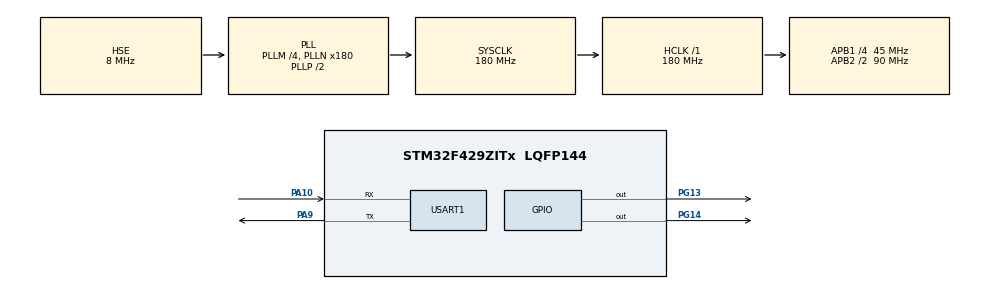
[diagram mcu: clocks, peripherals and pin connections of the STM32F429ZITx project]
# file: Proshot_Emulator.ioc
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Mcu.Family=STM32F4
Mcu.Name=STM32F429ZITx
Mcu.Package=LQFP144
NVIC.PriorityGroup=NVIC_PRIORITYGROUP_4
PA10.Mode=Asynchronous
PA10.Signal=USART1_RX
PA9.Mode=Asynchronous
PA9.Signal=USART1_TX
PG13.Signal=GPIO_Output
PG14.Signal=GPIO_Output
PH0/OSC_IN.Mode=HSE-External-Oscillator
PH0/OSC_IN.Signal=RCC_OSC_IN
PH1/OSC_OUT.Mode=HSE-External-Oscillator
PH1/OSC_OUT.Signal=RCC_OSC_OUT
ProjectManager.HeapSize=0x200
ProjectManager.StackSize=0x400
ProjectManager.TargetToolchain=STM32CubeIDE
RCC.48MHZClocksFreq_Value=90000000
RCC.AHBFreq_Value=180000000
RCC.APB1CLKDivider=RCC_HCLK_DIV4
RCC.APB1Freq_Value=45000000
RCC.APB1TimFreq_Value=90000000
RCC.APB2CLKDivider=RCC_HCLK_DIV2
RCC.APB2Freq_Value=90000000
RCC.APB2TimFreq_Value=180000000
RCC.CortexFreq_Value=180000000
RCC.HCLKFreq_Value=180000000
RCC.HSE_VALUE=8000000
RCC.HSI_VALUE=16000000
RCC.LSE_VALUE=32768
RCC.PLLM=4
RCC.PLLN=180
RCC.PLLSourceVirtual=RCC_PLLSOURCE_HSE
RCC.SYSCLKFreq_VALUE=180000000
RCC.SYSCLKSource=RCC_SYSCLKSOURCE_PLLCLK
RCC.VCOOutputFreq_Value=360000000
USART1.VirtualMode=VM_ASYNC
board=custom

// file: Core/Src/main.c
/* USER CODE BEGIN Header */
/**
  ******************************************************************************
  * @file           : main.c
  * @brief          : Main program body
  ******************************************************************************
  * @attention
  *
  * Copyright (c) 2024 STMicroelectronics.
  * All rights reserved.
  *
  * This software is licensed under terms that can be found in the LICENSE file
  * in the root directory of this software component.
  * If no LICENSE file comes with this software, it is provided AS-IS.
  *
  ******************************************************************************
  */
/* USER CODE END Header */
#include "main.h"

/* USER CODE BEGIN PM */

uint32_t Impuls_Start       = 300;    // Start-Versatz
uint32_t Impuls_Delta       =  22;    // fuer 125 ns
uint32_t Impuls_Grundbreite = 181;    // 1 us
uint32_t Impuls_Abstand     = 732;    // 4.04 us
uint32_t Impuls_Breite_1    =   0;
uint32_t Impuls_Breite_2    =   0;
uint32_t Impuls_Breite_3    =   0;
uint32_t Impuls_Breite_4    =   0;

/* USER CODE END PM */

UART_HandleTypeDef huart1;

/* USER CODE BEGIN PV */
volatile unsigned char OC_CH1_N = 0;
/* USER CODE END PV */

void SystemClock_Config(void);
static void MX_GPIO_Init(void);
static void MX_USART1_UART_Init(void);

/* USER CODE BEGIN 0 */

// interrupt handler for TIM1 capture/compare event
void TIM1_CC_IRQHandler(void) {
	uint32_t sr = TIM1->SR; // read interrupt flags
	TIM1->SR = 0; // clear interrupt flags before proceeding
	if(sr & TIM_SR_CC1IF) {									// capture event
		switch (OC_CH1_N)									// erster Output Compare kam:
		{
		  case (0):
				OC_CH1_N = 1;  								// naechster Zustand
		        HAL_GPIO_WritePin(GPIOG,GPIO_PIN_13,0);     // setze PG13-Pin auf High
				TIM1->CCR1 = Impuls_Start;                  // bereite naechsten Output Compare vor
		  break;
		  case (1):
				OC_CH1_N = 2;			                    // naechster Zustand
		        HAL_GPIO_WritePin(GPIOG,GPIO_PIN_13,1);     // setze PG13-Pin auf Low
			   TIM1->CCR1 = Impuls_Start + Impuls_Grundbreite + Impuls_Breite_1;  // bereite naechsten Output Compare vor
		  break;
		  case (2):
				OC_CH1_N = 3;			                    // naechster Zustand
			    HAL_GPIO_WritePin(GPIOG,GPIO_PIN_13,0);     // setze PG13-Pin auf High
			    TIM1->CCR1 = Impuls_Start + Impuls_Abstand;
		  break;
		  case (3):
				OC_CH1_N = 4;
		 	    HAL_GPIO_WritePin(GPIOG,GPIO_PIN_13,1);     // setze PG13-Pin auf Low
		 	   TIM1->CCR1 = Impuls_Start + Impuls_Abstand + Impuls_Grundbreite + Impuls_Breite_2;
		  break;
		  case (4):
				OC_CH1_N = 5;			                    // naechster Zustand
				HAL_GPIO_WritePin(GPIOG,GPIO_PIN_13,0);     // setze PG13-Pin auf High
			    TIM1->CCR1 = Impuls_Start + 2 * Impuls_Abstand;
		  break;
		  case (5):
				OC_CH1_N = 6;
		 	    HAL_GPIO_WritePin(GPIOG,GPIO_PIN_13,1);     // setze PG13-Pin auf Low
		 	   TIM1->CCR1 = Impuls_Start + 2 * Impuls_Abstand + Impuls_Grundbreite + Impuls_Breite_3;
		  break;
		  case (6):
			   OC_CH1_N = 7;			                    // naechster Zustand
			   HAL_GPIO_WritePin(GPIOG,GPIO_PIN_13,0);     // setze PG13-Pin auf High
			   TIM1->CCR1 = Impuls_Start + 3 * Impuls_Abstand;
		  break;
		  case (7):
				OC_CH1_N = 0;
		 	    HAL_GPIO_WritePin(GPIOG,GPIO_PIN_13,1);     // setze PG13-Pin auf Low
		 	   TIM1->CCR1 = Impuls_Start + 3 * Impuls_Abstand + Impuls_Grundbreite + Impuls_Breite_4;;
		  break;

		}
	}
}

//void TIM1_UP_TIM10_IRQHandler(void) {
//	uint32_t sr = TIM1->SR; // read interrupt flags
//	TIM1->SR = 0; // clear interrupt flags before proceeding
////	if(sr & TIM_SR_UIF) {									// update event
//		HAL_GPIO_TogglePin(GPIOG, GPIO_PIN_14);
//
//	}
//}
/* USER CODE END 0 */

int main(void)
{

  /* MCU Configuration--------------------------------------------------------*/

  /* Reset of all peripherals, Initializes the Flash interface and the Systick. */
  HAL_Init();

  /* Configure the system clock */
  SystemClock_Config();

  /* Initialize all configured peripherals */
  MX_GPIO_Init();
  MX_USART1_UART_Init();

  /* USER CODE BEGIN 2 */
  RCC->APB2ENR = RCC_APB2ENR_TIM1EN; // enable timer clock in RCC
  RCC->APB2ENR;
  TIM1->PSC = 0; //
  TIM1->EGR = TIM_EGR_UG; // update event to write prescaler shadow register
  TIM1->SR = 0; // clear interrupt flasg set by the update event
  TIM1->ARR = 11584 - 1; // must be > CCR1 (fuer 64us)
  TIM1->CCR1 = 100 - 1; //
  TIM1->DIER = TIM_DIER_UIE | TIM_DIER_CC1IE; // enable CC and update interrupts in timer
  TIM1->CR1 = TIM_CR1_CEN; // start timer
  NVIC_EnableIRQ(TIM1_CC_IRQn); // enable CC interrupt in NVIC
//  NVIC_EnableIRQ(TIM1_UP_TIM10_IRQn); // enable update interrupt in NVIC

  uint8_t stellwert_l;
  uint8_t stellwert_m;
  uint8_t stellwert_h;

  // zerlege in 3 mal 4 bit:

//  stellwert_l = stellwert & 0x0f;
//  stellwert_m = (stellwert >> 4) & 0x0f;
//  stellwert_h = (stellwert >> 8) & 0x0f;

//  Impuls_Breite_1 = stellwert_h * Impuls_Delta;
//  Impuls_Breite_2 = stellwert_m * Impuls_Delta;
//  Impuls_Breite_3 = stellwert_l * Impuls_Delta;
  Impuls_Breite_4 = 15 * Impuls_Delta;

// als Beispiel: 1 Inkrement, bedenke, dass Stellwert auf Empfangsseite durch 4 geteilt wird

//  stellwert_l = (uint32_t) 0x4;
//  stellwert_m = (uint32_t)0x0;
//  stellwert_h = (uint32_t)0x0;
//
//  Impuls_Breite_1 = stellwert_h * Impuls_Delta;
//  Impuls_Breite_2 = stellwert_m * Impuls_Delta;
//  Impuls_Breite_3 = stellwert_l * Impuls_Delta;
//   HAL_Delay(10);

  /* USER CODE END 2 */

  /* Infinite loop */
  while (1)
  {
   for(int i = 0; i < 1000; i++)
   {
	   stellwert_l = (uint32_t)i & 0x0f;
	   stellwert_m = ((uint32_t)i >> 4) & 0x0f;
	   stellwert_h = ((uint32_t)i >> 8) & 0x0f;

	   Impuls_Breite_1 = stellwert_h * Impuls_Delta;
	   Impuls_Breite_2 = stellwert_m * Impuls_Delta;
	   Impuls_Breite_3 = stellwert_l * Impuls_Delta;
	   HAL_Delay(10);
   }
   for(int i = 1000; i > 0; i--)
     {
  	   stellwert_l = (uint32_t)i & 0x0f;
  	   stellwert_m = ((uint32_t)i >> 4) & 0x0f;
  	   stellwert_h = ((uint32_t)i >> 8) & 0x0f;

  	   Impuls_Breite_1 = stellwert_h * Impuls_Delta;
  	   Impuls_Breite_2 = stellwert_m * Impuls_Delta;
  	   Impuls_Breite_3 = stellwert_l * Impuls_Delta;
  	   HAL_Delay(10);
     }

   // toggle DIRECTION

   HAL_GPIO_TogglePin(GPIOG, GPIO_PIN_14);

  }
}

void SystemClock_Config(void)
{
  RCC_OscInitTypeDef RCC_OscInitStruct = {0};
  RCC_ClkInitTypeDef RCC_ClkInitStruct = {0};

  /** Configure the main internal regulator output voltage
  */
  __HAL_RCC_PWR_CLK_ENABLE();
  __HAL_PWR_VOLTAGESCALING_CONFIG(PWR_REGULATOR_VOLTAGE_SCALE1);

  /** Initializes the RCC Oscillators according to the specified parameters
  * in the RCC_OscInitTypeDef structure.
  */
  RCC_OscInitStruct.OscillatorType = RCC_OSCILLATORTYPE_HSE;
  RCC_OscInitStruct.HSEState = RCC_HSE_ON;
  RCC_OscInitStruct.PLL.PLLState = RCC_PLL_ON;
  RCC_OscInitStruct.PLL.PLLSource = RCC_PLLSOURCE_HSE;
  RCC_OscInitStruct.PLL.PLLM = 4;
  RCC_OscInitStruct.PLL.PLLN = 180;
  RCC_OscInitStruct.PLL.PLLP = RCC_PLLP_DIV2;
  RCC_OscInitStruct.PLL.PLLQ = 4;
  if (HAL_RCC_OscConfig(&RCC_OscInitStruct) != HAL_OK)
  {
    Error_Handler();
  }

  /** Activate the Over-Drive mode
  */
  if (HAL_PWREx_EnableOverDrive() != HAL_OK)
  {
    Error_Handler();
  }

  /** Initializes the CPU, AHB and APB buses clocks
  */
  RCC_ClkInitStruct.ClockType = RCC_CLOCKTYPE_HCLK|RCC_CLOCKTYPE_SYSCLK
                              |RCC_CLOCKTYPE_PCLK1|RCC_CLOCKTYPE_PCLK2;
  RCC_ClkInitStruct.SYSCLKSource = RCC_SYSCLKSOURCE_PLLCLK;
  RCC_ClkInitStruct.AHBCLKDivider = RCC_SYSCLK_DIV1;
  RCC_ClkInitStruct.APB1CLKDivider = RCC_HCLK_DIV4;
  RCC_ClkInitStruct.APB2CLKDivider = RCC_HCLK_DIV2;

  if (HAL_RCC_ClockConfig(&RCC_ClkInitStruct, FLASH_LATENCY_5) != HAL_OK)
  {
    Error_Handler();
  }
}

static void MX_USART1_UART_Init(void)
{

  huart1.Instance = USART1;
  huart1.Init.BaudRate = 115200;
  huart1.Init.WordLength = UART_WORDLENGTH_8B;
  huart1.Init.StopBits = UART_STOPBITS_1;
  huart1.Init.Parity = UART_PARITY_NONE;
  huart1.Init.Mode = UART_MODE_TX_RX;
  huart1.Init.HwFlowCtl = UART_HWCONTROL_NONE;
  huart1.Init.OverSampling = UART_OVERSAMPLING_16;
  if (HAL_UART_Init(&huart1) != HAL_OK)
  {
    Error_Handler();
  }

}

static void MX_GPIO_Init(void)
{
  GPIO_InitTypeDef GPIO_InitStruct = {0};

  /* GPIO Ports Clock Enable */
  __HAL_RCC_GPIOH_CLK_ENABLE();
  __HAL_RCC_GPIOA_CLK_ENABLE();
  __HAL_RCC_GPIOG_CLK_ENABLE();

  /*Configure GPIO pin Output Level */
  HAL_GPIO_WritePin(GPIOG, GPIO_PIN_13|GPIO_PIN_14, GPIO_PIN_RESET);

  /*Configure GPIO pins : PG13 PG14 */
  GPIO_InitStruct.Pin = GPIO_PIN_13|GPIO_PIN_14;
  GPIO_InitStruct.Mode = GPIO_MODE_OUTPUT_PP;
  GPIO_InitStruct.Pull = GPIO_NOPULL;
  GPIO_InitStruct.Speed = GPIO_SPEED_FREQ_LOW;
  HAL_GPIO_Init(GPIOG, &GPIO_InitStruct);

}

void Error_Handler(void)
{
  __disable_irq();
  while (1)
  {
  }
}
